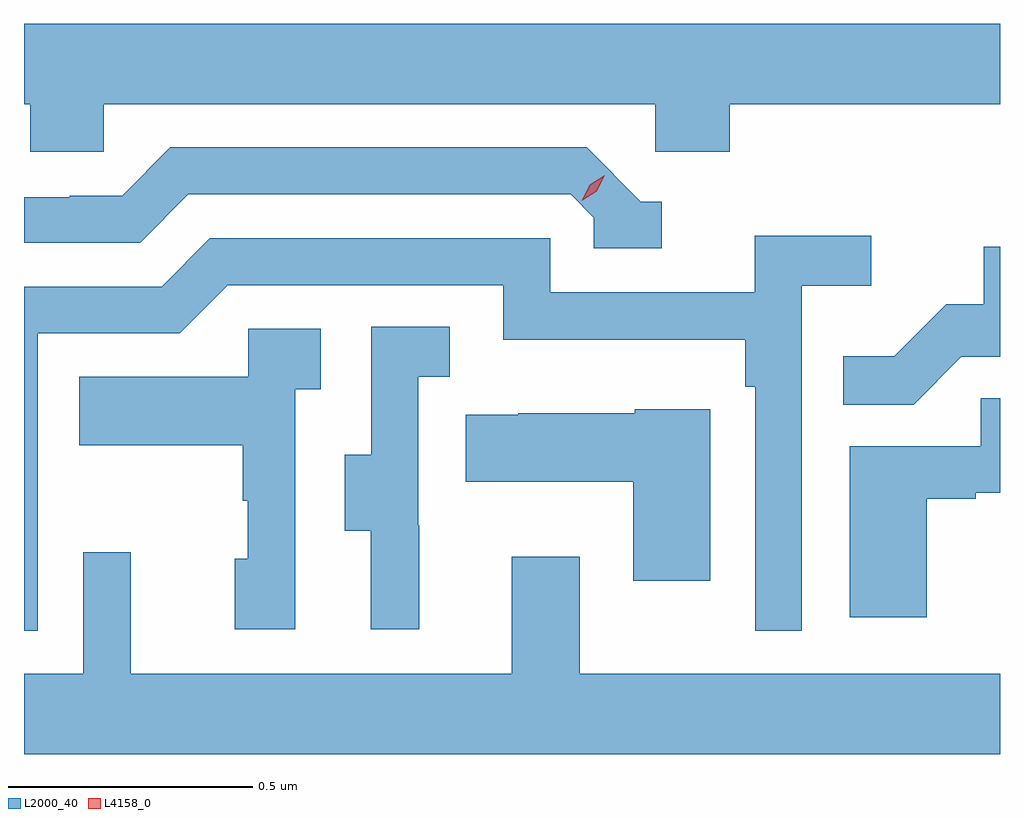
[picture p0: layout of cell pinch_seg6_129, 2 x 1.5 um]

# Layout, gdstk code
import gdstk
lib = gdstk.Library(unit=1e-6, precision=1e-09)
def P(c, l, *ps):  # polygons
    for p in ps: c.add(gdstk.Polygon(p, *l))
L2000_40 = (2000, 40)
L4158_0 = (4158, 0)

pinch_seg6_129 = lib.new_cell('pinch_seg6_129')
P(pinch_seg6_129, L2000_40, [(1013.631,927.356),(1014.762,927.356),(1014.762,927.258),(1014.914,927.258),(1014.914,927.356),(1015.468,927.356),(1015.468,927.52),(1013.468,927.52),(1013.468,927.356),(1013.481,927.356),(1013.481,927.258),(1013.631,927.258)],
  [(1014.775,927.156),(1014.732,927.156),(1014.621,927.267),(1013.768,927.267),(1013.669,927.168),(1013.562,927.168),(1013.562,927.165),(1013.468,927.165),(1013.468,927.072),(1013.706,927.072),(1013.805,927.171),(1014.588,927.171),(1014.636,927.123),(1014.636,927.06),(1014.775,927.06)],
  [(1013.496,926.886),(1013.787,926.886),(1013.886,926.985),(1014.45,926.985),(1014.45,926.873),(1014.946,926.873),(1014.946,926.777),(1014.966,926.777),(1014.966,926.277),(1015.062,926.277),(1015.062,926.984),(1015.204,926.984),(1015.204,927.086),(1014.965,927.086),(1014.965,926.97),(1014.546,926.97),(1014.546,927.081),(1013.849,927.081),(1013.75,926.982),(1013.468,926.982),(1013.468,926.277),(1013.496,926.277)],
  [(1015.389,926.838),(1015.468,926.838),(1015.468,927.063),(1015.435,927.063),(1015.435,926.946),(1015.358,926.946),(1015.251,926.839),(1015.147,926.839),(1015.147,926.74),(1015.291,926.74)],
  [(1014.278,926.493),(1014.276,926.493),(1014.276,926.797),(1014.34,926.797),(1014.34,926.9),(1014.18,926.9),(1014.18,926.637),(1014.125,926.637),(1014.125,926.482),(1014.179,926.482),(1014.179,926.28),(1014.278,926.28)],
  [(1014.024,926.771),(1014.076,926.771),(1014.076,926.895),(1013.928,926.895),(1013.928,926.797),(1013.581,926.797),(1013.581,926.657),(1013.916,926.657),(1013.916,926.543),(1013.926,926.543),(1013.926,926.424),(1013.9,926.424),(1013.9,926.28),(1014.024,926.28)],
  [(1015.318,926.547),(1015.418,926.547),(1015.418,926.559),(1015.468,926.559),(1015.468,926.753),(1015.429,926.753),(1015.429,926.655),(1015.16,926.655),(1015.16,926.304),(1015.318,926.304)],
  [(1014.874,926.731),(1014.72,926.731),(1014.72,926.722),(1014.481,926.722),(1014.481,926.719),(1014.373,926.719),(1014.373,926.582),(1014.716,926.582),(1014.716,926.379),(1014.874,926.379)],
  [(1015.468,926.188),(1014.607,926.188),(1014.607,926.428),(1014.467,926.428),(1014.467,926.188),(1013.687,926.188),(1013.687,926.437),(1013.589,926.437),(1013.589,926.188),(1013.468,926.188),(1013.468,926.024),(1015.468,926.024)])
P(pinch_seg6_129, L4158_0, [(1014.611,927.158),(1014.611,927.158),(1014.627,927.191),(1014.658,927.21),(1014.658,927.21),(1014.658,927.21),(1014.642,927.177),(1014.611,927.158)])

lib.write_gds('pinch_seg6_129.gds')
